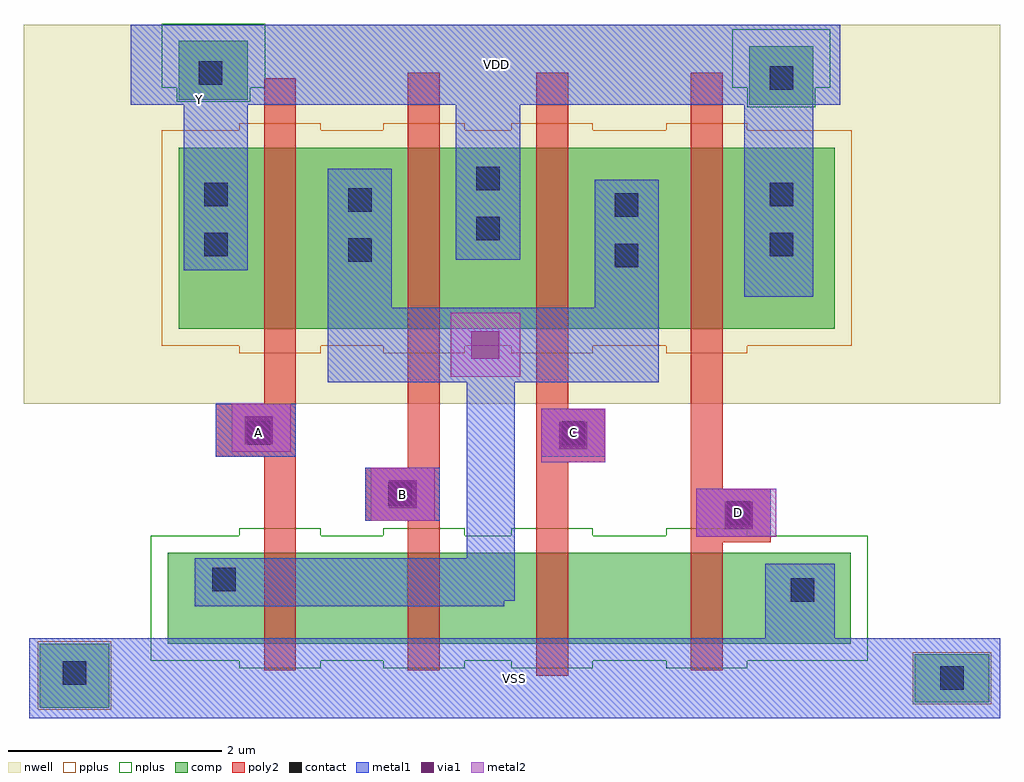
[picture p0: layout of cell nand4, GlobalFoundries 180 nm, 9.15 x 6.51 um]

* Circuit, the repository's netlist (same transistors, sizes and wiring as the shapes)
* Copyright 2022 Google LLC
*
* Licensed under the Apache License, Version 2.0 (the "License");
* you may not use this file except in compliance with the License.
* You may obtain a copy of the License at
*
*      http://www.apache.org/licenses/LICENSE-2.0
*
* Unless required by applicable law or agreed to in writing, software
* distributed under the License is distributed on an "AS IS" BASIS,
* WITHOUT WARRANTIES OR CONDITIONS OF ANY KIND, either express or implied.
* See the License for the specific language governing permissions and
* limitations under the License.

* NGSPICE file created from gf180mcu_osu_sc_gp9t3v3__nand4_1.ext - technology: gf180mcuD

.subckt gf180mcu_osu_sc_gp9t3v3__nand4_1 A B C D Y VDD VSS

X0 Y A VDD VDD pfet_03v3 W=1.70000U L=0.300000U
X1 Y B VDD VDD pfet_03v3 W=1.70000U L=0.300000U
X2 Y C VDD VDD pfet_03v3 W=1.70000U L=0.300000U
X3 Y D VDD VDD pfet_03v3 W=1.70000U L=0.300000U
X4 Y A net1 VSS nfet_03v3 W=0.850000U L=0.300000U
X5 net1 B net2 VSS nfet_03v3 W=0.850000U L=0.300000U
X6 net2 C net3 VSS nfet_03v3 W=0.850000U L=0.300000U
X7 net3 D VSS VSS nfet_03v3 W=0.850000U L=0.300000U

.ends

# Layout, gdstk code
import gdstk
lib = gdstk.Library(unit=1e-6, precision=1e-09)
def R(c, l, rs):  # rectangles x0, y0, x1, y1
    for r in rs: c.add(gdstk.rectangle(r[:2], r[2:], *l))
nwell = (21, 0)
comp = (22, 0)
poly2 = (30, 0)
pplus = (31, 0)
nplus = (32, 0)
contact = (33, 0)
metal1 = (34, 0)
via1 = (35, 0)
metal2 = (36, 0)

nand4 = lib.new_cell('nand4')
R(nand4, nwell, [(-1.65,-2.85,7.5,0.7)])
R(nand4, comp, [(-1.5,-5.7,-0.85,-5.1), (6.7,-5.65,7.4,-5.2), (-0.3,-5.1,6.1,-4.25), (-0.2,-2.15,5.95,-0.45), (5.15,-0.05,5.75,0.5), (-0.2,0,0.45,0.55)])
R(nand4, poly2, [(3.15,-5.4,3.45,-3.4), (0.6,-5.35,0.9,-3.35), (1.95,-5.35,2.25,-3.95), (4.6,-5.35,4.9,-4.15), (4.6,-4.15,5.35,-3.65), (1.55,-3.95,2.25,-3.45), (4.6,-3.65,4.9,0.25), (1.95,-3.45,2.25,0.25), (3.15,-3.4,3.8,-2.9), (0.15,-3.35,0.9,-2.85), (3.15,-2.9,3.45,0.25), (0.6,-2.85,0.9,0.2)])
R(nand4, pplus, [(-1.52,-5.72,-0.83,-5.08), (6.68,-5.67,7.42,-5.18), (0.37,-2.38,1.13,-2.31), (1.72,-2.38,2.48,-2.31), (2.92,-2.38,3.68,-2.31), (4.37,-2.38,5.13,-2.31), (-0.36,-2.31,6.11,-0.29), (0.37,-0.29,1.13,-0.22), (1.72,-0.29,2.48,-0.22), (2.92,-0.29,3.68,-0.22), (4.37,-0.29,5.13,-0.22)])
R(nand4, nplus, [(0.37,-5.33,1.13,-5.26), (1.72,-5.33,2.48,-5.26), (2.92,-5.33,3.68,-5.26), (4.37,-5.33,5.13,-5.26), (-0.46,-5.26,6.26,-4.09), (0.37,-4.09,1.13,-4.02), (1.72,-4.09,2.48,-4.02), (2.92,-4.09,3.68,-4.02), (4.37,-4.09,5.13,-4.02), (5.13,-0.07,5.77,0.11), (-0.22,-0.02,0.47,0.11), (-0.36,0.11,0.61,0.71), (4.99,0.11,5.91,0.66)])
R(nand4, contact, [(6.94,-5.535,7.16,-5.315), (-1.285,-5.485,-1.065,-5.265), (5.54,-4.71,5.76,-4.49), (0.115,-4.61,0.335,-4.39), (4.94,-3.985,5.16,-3.765), (1.765,-3.81,1.985,-3.59), (0.44,-3.235,0.66,-3.015), (3.39,-3.235,3.61,-3.015), (3.89,-1.57,4.11,-1.35), (1.39,-1.52,1.61,-1.3), (0.04,-1.47,0.26,-1.25), (5.34,-1.47,5.56,-1.25), (2.59,-1.32,2.81,-1.1), (3.89,-1.1,4.11,-0.88), (1.39,-1.05,1.61,-0.83), (0.04,-1,0.26,-0.78), (5.34,-1,5.56,-0.78), (2.59,-0.85,2.81,-0.63), (5.34,0.09,5.56,0.31), (-0.01,0.14,0.21,0.36)])
R(nand4, metal1, [(-1.6,-5.8,7.5,-5.05), (5.3,-5.05,5.95,-4.35), (-0.05,-4.75,2.85,-4.7), (-0.05,-4.7,2.95,-4.3), (2.5,-4.3,2.95,-2.65), (4.65,-4.1,5.35,-3.65), (1.55,-3.95,2.25,-3.45), (0.15,-3.35,0.9,-2.85), (3.2,-3.35,3.8,-2.9), (1.2,-2.65,4.3,-1.95), (1.2,-1.95,1.8,-0.65), (3.7,-1.95,4.3,-0.75), (5.1,-1.85,5.75,-0.05), (-0.15,-1.6,0.45,-0.05), (2.4,-1.5,3,-0.05), (-0.65,-0.05,6,0.7)])
R(nand4, via1, [(4.92,-4.03,5.18,-3.77), (1.77,-3.83,2.03,-3.57), (3.37,-3.28,3.63,-3.02), (0.42,-3.23,0.68,-2.97), (2.545,-2.43,2.805,-2.17)])
R(nand4, metal2, [(4.65,-4.1,5.4,-3.65), (1.6,-3.95,2.2,-3.45), (3.2,-3.4,3.8,-2.9), (0.3,-3.3,0.85,-2.85), (2.35,-2.6,3,-2)])
nand4.add(gdstk.Label('VDD', (2.775,0.325), layer=34, texttype=0))
nand4.add(gdstk.Label('VSS', (2.95,-5.425), layer=34, texttype=0))
nand4.add(gdstk.Label('Y', (0,0), layer=34, texttype=0))
nand4.add(gdstk.Label('A', (0.55,-3.125), layer=34, texttype=0))
nand4.add(gdstk.Label('B', (1.9,-3.7), layer=30, texttype=0))
nand4.add(gdstk.Label('C', (3.5,-3.125), layer=34, texttype=0))
nand4.add(gdstk.Label('D', (5.05,-3.875), layer=34, texttype=0))

lib.write_gds('nand4.gds')
